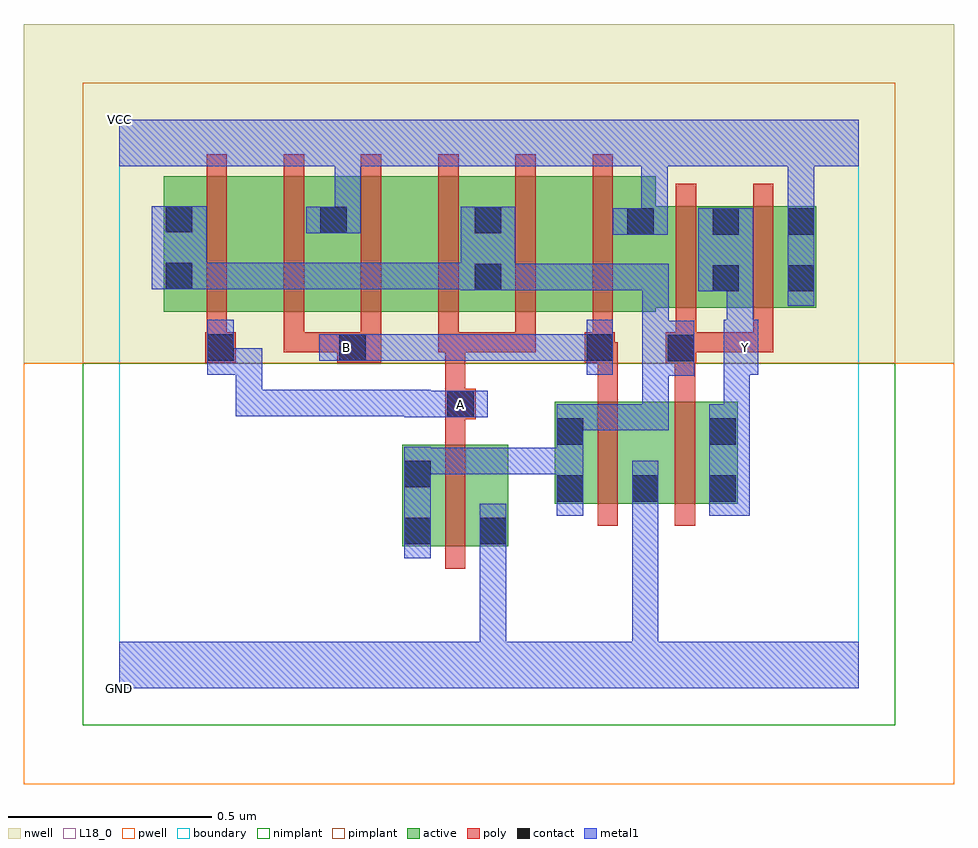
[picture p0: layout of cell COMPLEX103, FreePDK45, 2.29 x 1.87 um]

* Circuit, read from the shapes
.subckt COMPLEX103 A B GND VCC Y
M1 GND A n1 VSUBS nfet w=0.25u l=0.05u
M2 GND B n1 VSUBS nfet w=0.25u l=0.05u
M3 Y n1 GND VSUBS nfet w=0.25u l=0.05u
M4 n2 A n1 n3 pfet w=0.333u l=0.05u
M5 VCC B n2 n3 pfet w=0.333u l=0.05u
M6 n4 B VCC n3 pfet w=0.333u l=0.05u
M7 n1 A n4 n3 pfet w=0.333u l=0.05u
M8 n5 A n1 n3 pfet w=0.333u l=0.05u
M9 VCC B n5 n3 pfet w=0.333u l=0.05u
M10 Y n1 VCC n3 pfet w=0.25u l=0.05u m=2
.ends

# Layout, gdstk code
import gdstk
lib = gdstk.Library(unit=1e-6, precision=1e-09)
def R(c, l, rs):  # rectangles x0, y0, x1, y1
    for r in rs: c.add(gdstk.rectangle(r[:2], r[2:], *l))
def A(c, l, x, y, w, h, nx, ny, dx, dy):  # array of equal rectangles
    R(c, l, [(x+i*dx, y+j*dy, x+i*dx+w, y+j*dy+h) for i in range(nx) for j in range(ny)])
active = (1, 0)
pwell = (2, 0)
nwell = (3, 0)
nimplant = (4, 0)
pimplant = (5, 0)
poly = (9, 0)
contact = (10, 0)
metal1 = (11, 0)
L18_0 = (18, 0)
boundary = (235, 0)

complex103 = lib.new_cell('COMPLEX103')
A(complex103, active, 0.11, 0.927, 0.225, 0.333, 3, 1, 0.38, 0)
R(complex103, active, [(0.697,0.35,0.772,0.6), (0.697,0.35,0.957,0.6), (0.882,0.35,0.957,0.425), (1.072,0.455,1.147,0.705), (1.072,0.455,1.332,0.705), (1.257,0.455,1.522,0.705), (1.257,0.455,1.332,0.665), (1.447,0.455,1.522,0.705), (0.11,0.927,0.185,1.2), (0.335,0.927,0.565,1.26), (0.715,0.927,0.945,1.26), (1.095,0.927,1.32,1.26), (1.245,0.937,1.53,1.187), (1.455,0.937,1.53,1.187), (1.455,0.937,1.715,1.187), (1.64,0.937,1.715,1.187), (0.49,0.975,0.565,1.19), (0.87,0.975,0.945,1.2), (1.245,1.057,1.32,1.187)])
R(complex103, pwell, [(-0.235,-0.235,2.055,0.8)])
R(complex103, nwell, [(-0.235,0.8,2.055,1.635)])
R(complex103, nimplant, [(-0.09,-0.09,1.91,0.8)])
R(complex103, pimplant, [(-0.09,0.8,1.91,1.49)])
A(complex103, poly, 0.215, 0.827, 0.05, 0.095, 6, 1, 0.19, 0)
A(complex103, poly, 0.215, 0.872, 0.05, 0.443, 6, 1, 0.19, 0)
R(complex103, poly, [(0.802,0.295,0.852,0.655), (1.177,0.4,1.227,0.76), (1.367,0.4,1.417,0.76), (0.802,0.605,0.852,0.712), (0.802,0.662,0.877,0.737), (0.802,0.687,0.852,0.877), (1.177,0.71,1.227,0.852), (1.367,0.71,1.417,0.85), (1.345,0.8,1.42,0.877), (1.367,0.8,1.417,0.85), (1.367,0.8,1.417,0.85), (0.212,0.802,0.287,0.877), (0.537,0.802,0.645,0.877), (1.145,0.802,1.22,0.877), (1.17,0.802,1.22,0.852), (1.17,0.802,1.227,0.852), (0.215,0.827,0.265,0.877), (0.215,0.827,0.265,0.877), (0.405,0.827,0.455,0.877), (0.405,0.827,0.587,0.877), (0.537,0.827,0.587,0.877), (0.537,0.827,0.587,0.877), (0.785,0.827,0.852,0.877), (0.802,0.827,0.852,0.877), (0.802,0.827,0.852,0.877), (0.802,0.827,1.025,0.877), (0.975,0.827,1.025,0.877), (1.37,0.827,1.42,0.932), (1.37,0.827,1.61,0.877), (1.56,0.827,1.61,0.932), (1.56,0.827,1.61,0.877), (1.56,0.827,1.61,0.877), (1.56,0.827,1.61,0.877), (1.37,0.882,1.42,1.242), (1.56,0.882,1.61,1.242)])
R(complex103, contact, [(0.702,0.355,0.767,0.42), (0.887,0.355,0.952,0.42), (1.077,0.46,1.142,0.525), (1.262,0.46,1.327,0.525), (1.452,0.46,1.517,0.525), (0.702,0.495,0.767,0.56), (1.077,0.6,1.142,0.665), (1.452,0.6,1.517,0.665), (0.807,0.667,0.872,0.732), (1.35,0.805,1.415,0.87), (0.217,0.807,0.282,0.872), (0.542,0.807,0.607,0.872), (1.15,0.807,1.215,0.872), (1.46,0.977,1.525,1.042), (1.645,0.977,1.71,1.042), (0.875,0.98,0.94,1.045), (0.115,0.982,0.18,1.047), (1.25,1.117,1.315,1.182), (1.46,1.117,1.525,1.182), (1.645,1.117,1.71,1.182), (0.495,1.12,0.56,1.185), (0.875,1.12,0.94,1.185), (0.115,1.122,0.18,1.187)])
R(complex103, metal1, [(0,0,1.82,0.115), (0.887,0.05,0.952,0.385), (1.262,0.05,1.327,0.49), (0.702,0.32,0.767,0.595), (0.887,0.32,0.952,0.385), (0.887,0.32,0.952,0.385), (0.887,0.32,0.952,0.385), (0.887,0.32,0.952,0.385), (0.887,0.32,0.952,0.385), (0.887,0.32,0.952,0.385), (0.887,0.32,0.952,0.455), (1.077,0.425,1.142,0.7), (1.262,0.425,1.327,0.49), (1.262,0.425,1.327,0.49), (1.262,0.425,1.327,0.49), (1.262,0.425,1.327,0.49), (1.262,0.425,1.327,0.49), (1.262,0.425,1.327,0.49), (1.262,0.425,1.327,0.56), (1.452,0.425,1.552,0.7), (0.702,0.527,0.837,0.592), (0.772,0.527,0.837,0.592), (0.772,0.527,1.005,0.592), (0.94,0.527,1.005,0.592), (0.94,0.527,1.005,0.592), (0.94,0.527,1.005,0.592), (0.94,0.527,1.142,0.592), (1.077,0.635,1.142,0.7), (1.077,0.635,1.142,0.7), (1.077,0.635,1.352,0.7), (1.287,0.635,1.352,0.7), (1.287,0.635,1.352,0.7), (1.287,0.635,1.352,0.7), (1.287,0.635,1.352,0.835), (1.487,0.635,1.552,0.837), (0.702,0.667,0.837,0.732), (0.702,0.667,0.767,0.735), (0.772,0.667,0.907,0.732), (0.287,0.67,0.42,0.735), (0.287,0.67,0.352,0.837), (0.355,0.67,0.42,0.735), (0.355,0.67,0.557,0.735), (0.492,0.67,0.557,0.735), (0.492,0.67,0.557,0.735), (0.492,0.67,0.557,0.735), (0.492,0.67,0.767,0.735), (1.287,0.77,1.352,0.835), (1.287,0.77,1.352,1.045), (1.287,0.77,1.415,0.835), (1.35,0.77,1.415,0.905), (0.217,0.772,0.282,0.907), (0.217,0.772,0.352,0.837), (1.15,0.772,1.215,0.907), (1.487,0.772,1.572,0.907), (0.492,0.807,0.642,0.872), (0.577,0.807,0.695,0.872), (0.63,0.807,0.695,0.872), (0.63,0.807,0.837,0.872), (0.772,0.807,0.837,0.872), (0.772,0.807,0.975,0.872), (0.91,0.807,0.975,0.872), (0.91,0.807,0.975,0.872), (0.91,0.807,0.975,0.872), (0.91,0.807,1.142,0.872), (1.077,0.807,1.142,0.872), (1.077,0.807,1.215,0.872), (1.495,0.842,1.56,0.907), (1.495,0.842,1.56,0.907), (1.495,0.842,1.56,1.042), (1.645,0.942,1.71,1.217), (1.425,0.977,1.56,1.182), (0.84,0.98,0.975,1.185), (0.91,0.98,0.975,1.045), (0.91,0.98,0.975,1.045), (0.91,0.98,1.142,1.045), (1.077,0.98,1.142,1.045), (1.077,0.98,1.142,1.045), (1.077,0.98,1.142,1.045), (1.077,0.98,1.352,1.045), (1.287,0.98,1.352,1.045), (0.08,0.982,0.215,1.187), (0.15,0.982,0.215,1.047), (0.15,0.982,0.215,1.047), (0.15,0.982,0.352,1.047), (0.287,0.982,0.352,1.047), (0.287,0.982,0.42,1.047), (0.355,0.982,0.42,1.047), (0.355,0.982,0.557,1.047), (0.492,0.982,0.557,1.047), (0.492,0.982,0.557,1.047), (0.492,0.982,0.557,1.047), (0.492,0.982,0.695,1.047), (0.63,0.982,0.695,1.047), (0.63,0.982,0.837,1.047), (0.772,0.982,0.837,1.047), (0.772,0.982,0.905,1.047), (1.215,1.117,1.35,1.182), (1.285,1.117,1.35,1.35), (0.46,1.12,0.595,1.185), (0.53,1.12,0.595,1.35), (1.645,1.152,1.71,1.35), (0,1.285,1.82,1.4), (1.645,1.285,1.71,1.35), (1.645,1.285,1.71,1.35)])
R(complex103, L18_0, [(0,0,1.82,0.115), (0.887,0.05,0.952,0.385), (1.262,0.05,1.327,0.49), (0.887,0.32,0.952,0.455), (0.887,0.32,0.952,0.385), (0.887,0.32,0.952,0.385), (0.887,0.32,0.952,0.385), (0.887,0.32,0.952,0.385), (0.887,0.32,0.952,0.385), (0.887,0.32,0.952,0.385), (1.262,0.425,1.327,0.56), (1.262,0.425,1.327,0.49), (1.262,0.425,1.327,0.49), (1.262,0.425,1.327,0.49), (1.262,0.425,1.327,0.49), (1.262,0.425,1.327,0.49), (1.262,0.425,1.327,0.49), (1.452,0.425,1.552,0.7), (1.487,0.635,1.552,0.837), (0.702,0.667,0.837,0.732), (0.702,0.667,0.767,0.735), (0.772,0.667,0.907,0.732), (0.807,0.667,0.872,0.732), (0.287,0.67,0.352,0.837), (0.287,0.67,0.42,0.735), (0.355,0.67,0.42,0.735), (0.355,0.67,0.557,0.735), (0.492,0.67,0.557,0.735), (0.492,0.67,0.557,0.735), (0.492,0.67,0.557,0.735), (0.492,0.67,0.767,0.735), (0.217,0.772,0.282,0.907), (0.217,0.772,0.352,0.837), (1.15,0.772,1.215,0.907), (1.487,0.772,1.572,0.907), (0.492,0.807,0.642,0.872), (0.527,0.807,0.592,0.872), (0.577,0.807,0.695,0.872), (0.63,0.807,0.695,0.872), (0.63,0.807,0.837,0.872), (0.772,0.807,0.837,0.872), (0.772,0.807,0.975,0.872), (0.91,0.807,0.975,0.872), (0.91,0.807,0.975,0.872), (0.91,0.807,0.975,0.872), (0.91,0.807,1.142,0.872), (1.077,0.807,1.142,0.872), (1.077,0.807,1.215,0.872), (1.507,0.807,1.572,0.872), (1.495,0.842,1.56,0.907), (1.495,0.842,1.56,0.907), (1.495,0.842,1.56,1.042), (1.645,0.942,1.71,1.217), (1.425,0.977,1.56,1.182), (1.215,1.117,1.35,1.182), (1.285,1.117,1.35,1.35), (0.46,1.12,0.595,1.185), (0.53,1.12,0.595,1.35), (1.645,1.152,1.71,1.35), (0,1.285,1.82,1.4), (1.645,1.285,1.71,1.35), (1.645,1.285,1.71,1.35)])
R(complex103, boundary, [(0,0,1.82,1.4)])
complex103.add(gdstk.Label('A', (0.84,0.7), layer=11, texttype=0))
complex103.add(gdstk.Label('B', (0.56,0.84), layer=11, texttype=0))
complex103.add(gdstk.Label('Y', (1.54,0.84), layer=11, texttype=0))
complex103.add(gdstk.Label('VCC', (0,1.4), layer=11, texttype=0))
complex103.add(gdstk.Label('GND', (0,0), layer=11, texttype=0))

lib.write_gds('COMPLEX103.gds')
